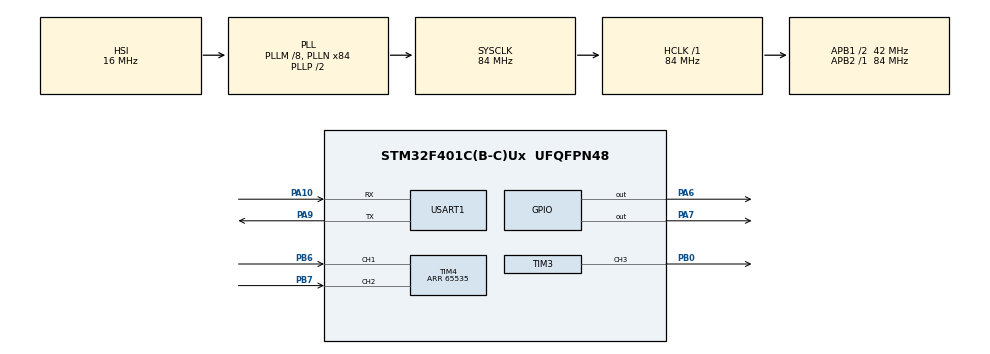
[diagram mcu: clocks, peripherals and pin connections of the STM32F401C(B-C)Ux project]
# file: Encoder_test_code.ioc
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Mcu.Family=STM32F4
Mcu.Name=STM32F401C(B-C)Ux
Mcu.Package=UFQFPN48
NVIC.PriorityGroup=NVIC_PRIORITYGROUP_4
PA10.Mode=Asynchronous
PA10.Signal=USART1_RX
PA6.GPIO_PuPd=GPIO_PULLUP
PA6.Signal=GPIO_Output
PA7.GPIO_PuPd=GPIO_PULLUP
PA7.Signal=GPIO_Output
PA9.Mode=Asynchronous
PA9.Signal=USART1_TX
PB0.Signal=S_TIM3_CH3
PB6.GPIO_PuPd=GPIO_PULLUP
PB6.Signal=S_TIM4_CH1
PB7.GPIO_PuPd=GPIO_PULLUP
PB7.Signal=S_TIM4_CH2
PH0\ -\ OSC_IN.Mode=HSE-External-Oscillator
PH0\ -\ OSC_IN.Signal=RCC_OSC_IN
PH1\ -\ OSC_OUT.Mode=HSE-External-Oscillator
PH1\ -\ OSC_OUT.Signal=RCC_OSC_OUT
ProjectManager.HeapSize=0x200
ProjectManager.StackSize=0x400
ProjectManager.TargetToolchain=STM32CubeIDE
RCC.48MHZClocksFreq_Value=42000000
RCC.AHBFreq_Value=84000000
RCC.APB1CLKDivider=RCC_HCLK_DIV2
RCC.APB1Freq_Value=42000000
RCC.APB1TimFreq_Value=84000000
RCC.APB2Freq_Value=84000000
RCC.APB2TimFreq_Value=84000000
RCC.CortexFreq_Value=84000000
RCC.HCLKFreq_Value=84000000
RCC.HSE_VALUE=25000000
RCC.HSI_VALUE=16000000
RCC.LSE_VALUE=32768
RCC.PLLM=8
RCC.PLLN=84
RCC.SYSCLKFreq_VALUE=84000000
RCC.SYSCLKSource=RCC_SYSCLKSOURCE_PLLCLK
RCC.VCOOutputFreq_Value=168000000
SH.S_TIM3_CH3.0=TIM3_CH3,PWM Generation3 CH3
SH.S_TIM4_CH1.0=TIM4_CH1,Encoder_Interface
SH.S_TIM4_CH2.0=TIM4_CH2,Encoder_Interface
TIM3.Channel-PWM\ Generation3\ CH3=TIM_CHANNEL_3
TIM3.Period=499
TIM3.Prescaler=83
TIM4.EncoderMode=TIM_ENCODERMODE_TI12
TIM4.IC1Filter=5
TIM4.IC2Filter=5
TIM4.Period=65535
USART1.VirtualMode=VM_ASYNC
board=custom

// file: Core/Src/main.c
/* USER CODE BEGIN Header */
/**
 ******************************************************************************
 * @file           : main.c
 * @brief          : Main program body
 ******************************************************************************
 * @attention
 *
 * Copyright (c) 2024 STMicroelectronics.
 * All rights reserved.
 *
 * This software is licensed under terms that can be found in the LICENSE file
 * in the root directory of this software component.
 * If no LICENSE file comes with this software, it is provided AS-IS.
 *
 ******************************************************************************
 */
/* USER CODE END Header */
#include "main.h"

/* USER CODE BEGIN Includes */
#include <stdio.h>
/* USER CODE END Includes */

/* USER CODE BEGIN PTD */
#define IN1_PIN GPIO_PIN_7
#define IN1_GPIO GPIOA

#define IN2_PIN GPIO_PIN_6
#define IN2_GPIO GPIOA
/* USER CODE END PTD */

TIM_HandleTypeDef htim3;
TIM_HandleTypeDef htim4;

UART_HandleTypeDef huart1;

void SystemClock_Config(void);
static void MX_GPIO_Init(void);
static void MX_TIM3_Init(void);
static void MX_TIM4_Init(void);
static void MX_USART1_UART_Init(void);

/* USER CODE BEGIN 0 */
void motorA_RUN(int pwm, int dir) {

	if (dir == 1) {
		HAL_GPIO_WritePin(IN1_GPIO, IN1_PIN, 0);
		HAL_GPIO_WritePin(IN2_GPIO, IN2_PIN, 1);

		__HAL_TIM_SetCompare(&htim3, TIM_CHANNEL_3, pwm);

	} else if (dir == 0) {
		HAL_GPIO_WritePin(IN1_GPIO, IN1_PIN, 1);
		HAL_GPIO_WritePin(IN2_GPIO, IN2_PIN, 0);
		__HAL_TIM_SET_COMPARE(&htim3, TIM_CHANNEL_3, pwm);

	} else {
		HAL_GPIO_WritePin(IN1_GPIO, IN1_PIN, 0);
		HAL_GPIO_WritePin(IN2_GPIO, IN2_PIN, 0);
		__HAL_TIM_SET_COMPARE(&htim3, TIM_CHANNEL_3, 0);
	}

}

/* USER CODE END 0 */

int main(void) {

	/* MCU Configuration--------------------------------------------------------*/

	/* Reset of all peripherals, Initializes the Flash interface and the Systick. */
	HAL_Init();

	/* Configure the system clock */
	SystemClock_Config();

	/* Initialize all configured peripherals */
	MX_GPIO_Init();
	MX_TIM3_Init();
	MX_TIM4_Init();
	MX_USART1_UART_Init();
	/* USER CODE BEGIN 2 */

	int counterValue = 0;
	int pastCounterValue = 0;
	float angleValue = 0;
	char printMessage[200] = { '\0' };
	uint32_t currentMillis = 0;
	uint32_t preViousMillis = 0;

	HAL_TIM_Encoder_Start(&htim4, TIM_CHANNEL_ALL);
	HAL_TIM_PWM_Start(&htim3, TIM_CHANNEL_3); //PB0

	/* USER CODE END 2 */

	/* Infinite loop */
	/* USER CODE BEGIN WHILE */
	while (1) {
		motorA_RUN(250, 1);
		currentMillis = HAL_GetTick();
		counterValue = TIM4->CNT;

		if (counterValue != pastCounterValue) {
			angleValue = (360.0 / 2000.0) * ((float) counterValue);
			sprintf(printMessage, "Current counter value is: %d\n\r",
					counterValue);
			HAL_UART_Transmit(&huart1, (uint8_t*) printMessage,
					sizeof(printMessage), 300);
		} else {
			sprintf(printMessage, "Counter equal to past value");
			HAL_UART_Transmit(&huart1, (uint8_t*) printMessage,
					sizeof(printMessage), 300);
		}
		pastCounterValue = counterValue;

		if (counterValue >= 2000) {
			int time = currentMillis - preViousMillis;
			sprintf(printMessage, "Counter is reset");
			HAL_UART_Transmit(&huart1, (uint8_t*) printMessage,
					sizeof(printMessage), 300);
			preViousMillis = currentMillis;
			sprintf(printMessage, "Time %d\n\r ", time);
			HAL_UART_Transmit(&huart1, (uint8_t*) printMessage,
					sizeof(printMessage), 300);

			float rpm = (60000.0 / (float) time);
			sprintf(printMessage, "rpm %f\n\r ", rpm);
			HAL_UART_Transmit(&huart1, (uint8_t*) printMessage,
					sizeof(printMessage), 300);
			TIM4->CNT = 0;

		}

		/* USER CODE END WHILE */

	}
}

void SystemClock_Config(void) {
	RCC_OscInitTypeDef RCC_OscInitStruct = { 0 };
	RCC_ClkInitTypeDef RCC_ClkInitStruct = { 0 };

	/** Configure the main internal regulator output voltage
	 */
	__HAL_RCC_PWR_CLK_ENABLE();
	__HAL_PWR_VOLTAGESCALING_CONFIG(PWR_REGULATOR_VOLTAGE_SCALE2);

	/** Initializes the RCC Oscillators according to the specified parameters
	 * in the RCC_OscInitTypeDef structure.
	 */
	RCC_OscInitStruct.OscillatorType = RCC_OSCILLATORTYPE_HSI;
	RCC_OscInitStruct.HSIState = RCC_HSI_ON;
	RCC_OscInitStruct.HSICalibrationValue = RCC_HSICALIBRATION_DEFAULT;
	RCC_OscInitStruct.PLL.PLLState = RCC_PLL_ON;
	RCC_OscInitStruct.PLL.PLLSource = RCC_PLLSOURCE_HSI;
	RCC_OscInitStruct.PLL.PLLM = 8;
	RCC_OscInitStruct.PLL.PLLN = 84;
	RCC_OscInitStruct.PLL.PLLP = RCC_PLLP_DIV2;
	RCC_OscInitStruct.PLL.PLLQ = 4;
	if (HAL_RCC_OscConfig(&RCC_OscInitStruct) != HAL_OK) {
		Error_Handler();
	}

	/** Initializes the CPU, AHB and APB buses clocks
	 */
	RCC_ClkInitStruct.ClockType = RCC_CLOCKTYPE_HCLK | RCC_CLOCKTYPE_SYSCLK
			| RCC_CLOCKTYPE_PCLK1 | RCC_CLOCKTYPE_PCLK2;
	RCC_ClkInitStruct.SYSCLKSource = RCC_SYSCLKSOURCE_PLLCLK;
	RCC_ClkInitStruct.AHBCLKDivider = RCC_SYSCLK_DIV1;
	RCC_ClkInitStruct.APB1CLKDivider = RCC_HCLK_DIV2;
	RCC_ClkInitStruct.APB2CLKDivider = RCC_HCLK_DIV1;

	if (HAL_RCC_ClockConfig(&RCC_ClkInitStruct, FLASH_LATENCY_2) != HAL_OK) {
		Error_Handler();
	}
}

static void MX_TIM3_Init(void) {

	TIM_MasterConfigTypeDef sMasterConfig = { 0 };
	TIM_OC_InitTypeDef sConfigOC = { 0 };

	htim3.Instance = TIM3;
	htim3.Init.Prescaler = 83;
	htim3.Init.CounterMode = TIM_COUNTERMODE_UP;
	htim3.Init.Period = 499;
	htim3.Init.ClockDivision = TIM_CLOCKDIVISION_DIV1;
	htim3.Init.AutoReloadPreload = TIM_AUTORELOAD_PRELOAD_DISABLE;
	if (HAL_TIM_PWM_Init(&htim3) != HAL_OK) {
		Error_Handler();
	}
	sMasterConfig.MasterOutputTrigger = TIM_TRGO_RESET;
	sMasterConfig.MasterSlaveMode = TIM_MASTERSLAVEMODE_DISABLE;
	if (HAL_TIMEx_MasterConfigSynchronization(&htim3, &sMasterConfig)
			!= HAL_OK) {
		Error_Handler();
	}
	sConfigOC.OCMode = TIM_OCMODE_PWM1;
	sConfigOC.Pulse = 0;
	sConfigOC.OCPolarity = TIM_OCPOLARITY_HIGH;
	sConfigOC.OCFastMode = TIM_OCFAST_DISABLE;
	if (HAL_TIM_PWM_ConfigChannel(&htim3, &sConfigOC, TIM_CHANNEL_3)
			!= HAL_OK) {
		Error_Handler();
	}
	HAL_TIM_MspPostInit(&htim3);

}

static void MX_TIM4_Init(void) {

	TIM_Encoder_InitTypeDef sConfig = { 0 };
	TIM_MasterConfigTypeDef sMasterConfig = { 0 };

	htim4.Instance = TIM4;
	htim4.Init.Prescaler = 0;
	htim4.Init.CounterMode = TIM_COUNTERMODE_UP;
	htim4.Init.Period = 65535;
	htim4.Init.ClockDivision = TIM_CLOCKDIVISION_DIV1;
	htim4.Init.AutoReloadPreload = TIM_AUTORELOAD_PRELOAD_DISABLE;
	sConfig.EncoderMode = TIM_ENCODERMODE_TI12;
	sConfig.IC1Polarity = TIM_ICPOLARITY_RISING;
	sConfig.IC1Selection = TIM_ICSELECTION_DIRECTTI;
	sConfig.IC1Prescaler = TIM_ICPSC_DIV1;
	sConfig.IC1Filter = 5;
	sConfig.IC2Polarity = TIM_ICPOLARITY_RISING;
	sConfig.IC2Selection = TIM_ICSELECTION_DIRECTTI;
	sConfig.IC2Prescaler = TIM_ICPSC_DIV1;
	sConfig.IC2Filter = 5;
	if (HAL_TIM_Encoder_Init(&htim4, &sConfig) != HAL_OK) {
		Error_Handler();
	}
	sMasterConfig.MasterOutputTrigger = TIM_TRGO_RESET;
	sMasterConfig.MasterSlaveMode = TIM_MASTERSLAVEMODE_DISABLE;
	if (HAL_TIMEx_MasterConfigSynchronization(&htim4, &sMasterConfig)
			!= HAL_OK) {
		Error_Handler();
	}

}

static void MX_USART1_UART_Init(void) {

	huart1.Instance = USART1;
	huart1.Init.BaudRate = 115200;
	huart1.Init.WordLength = UART_WORDLENGTH_8B;
	huart1.Init.StopBits = UART_STOPBITS_1;
	huart1.Init.Parity = UART_PARITY_NONE;
	huart1.Init.Mode = UART_MODE_TX_RX;
	huart1.Init.HwFlowCtl = UART_HWCONTROL_NONE;
	huart1.Init.OverSampling = UART_OVERSAMPLING_16;
	if (HAL_UART_Init(&huart1) != HAL_OK) {
		Error_Handler();
	}

}

static void MX_GPIO_Init(void) {
	GPIO_InitTypeDef GPIO_InitStruct = { 0 };

	/* GPIO Ports Clock Enable */
	__HAL_RCC_GPIOH_CLK_ENABLE();
	__HAL_RCC_GPIOA_CLK_ENABLE();
	__HAL_RCC_GPIOB_CLK_ENABLE();

	/*Configure GPIO pin Output Level */
	HAL_GPIO_WritePin(GPIOA, GPIO_PIN_6 | GPIO_PIN_7, GPIO_PIN_RESET);

	/*Configure GPIO pins : PA6 PA7 */
	GPIO_InitStruct.Pin = GPIO_PIN_6 | GPIO_PIN_7;
	GPIO_InitStruct.Mode = GPIO_MODE_OUTPUT_PP;
	GPIO_InitStruct.Pull = GPIO_PULLUP;
	GPIO_InitStruct.Speed = GPIO_SPEED_FREQ_LOW;
	HAL_GPIO_Init(GPIOA, &GPIO_InitStruct);

}

void Error_Handler(void) {
	__disable_irq();
	while (1) {
	}
}
